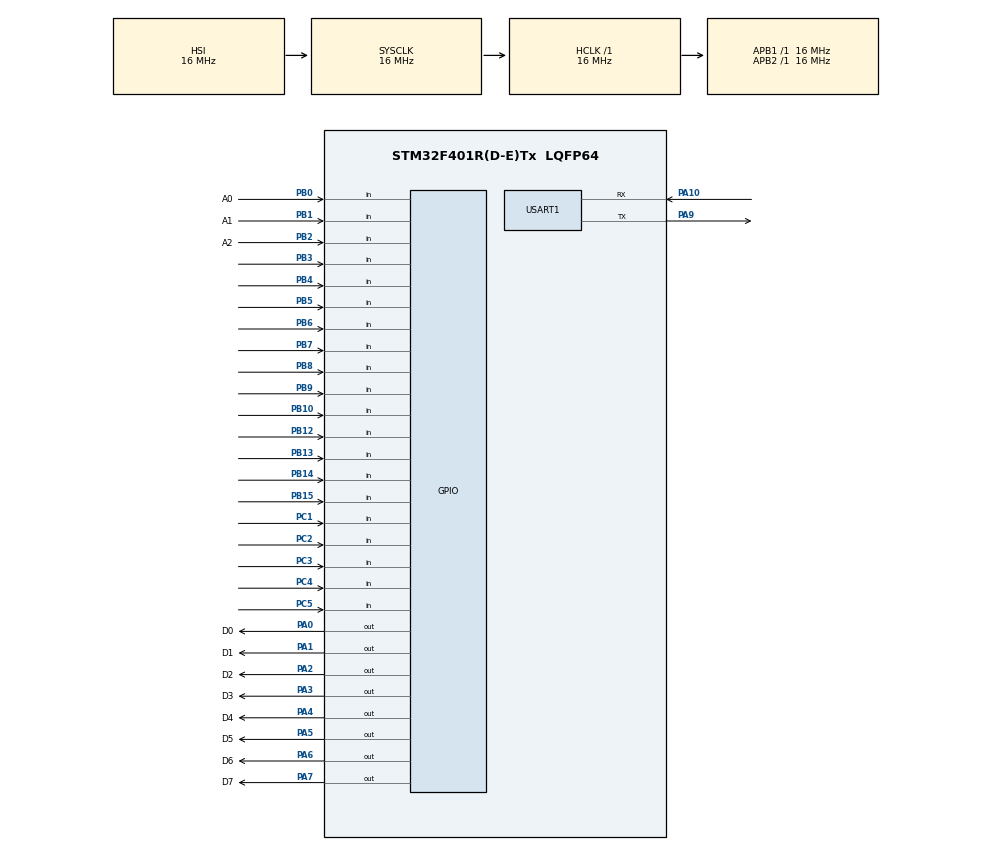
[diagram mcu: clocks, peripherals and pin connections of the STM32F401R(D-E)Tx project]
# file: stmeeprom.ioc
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Mcu.Family=STM32F4
Mcu.Name=STM32F401R(D-E)Tx
Mcu.Package=LQFP64
NVIC.PriorityGroup=NVIC_PRIORITYGROUP_4
PA0-WKUP.GPIO_Label=D0
PA0-WKUP.Signal=GPIO_Output
PA1.GPIO_Label=D1
PA1.Signal=GPIO_Output
PA10.Mode=Asynchronous
PA10.Signal=USART1_RX
PA2.GPIO_Label=D2
PA2.Signal=GPIO_Output
PA3.GPIO_Label=D3
PA3.Signal=GPIO_Output
PA4.GPIO_Label=D4
PA4.Signal=GPIO_Output
PA5.GPIO_Label=D5
PA5.Signal=GPIO_Output
PA6.GPIO_Label=D6
PA6.Signal=GPIO_Output
PA7.GPIO_Label=D7
PA7.Signal=GPIO_Output
PA9.Mode=Asynchronous
PA9.Signal=USART1_TX
PB0.GPIO_Label=A0
PB0.Signal=GPIO_Input
PB1.GPIO_Label=A1
PB1.Signal=GPIO_Input
PB10.Signal=GPIO_Input
PB12.Signal=GPIO_Input
PB13.Signal=GPIO_Input
PB14.Signal=GPIO_Input
PB15.Signal=GPIO_Input
PB2.GPIO_Label=A2
PB2.Signal=GPIO_Input
PB3.Signal=GPIO_Input
PB4.Signal=GPIO_Input
PB5.Signal=GPIO_Input
PB6.Signal=GPIO_Input
PB7.Signal=GPIO_Input
PB8.Signal=GPIO_Input
PB9.Signal=GPIO_Input
PC1.Signal=GPIO_Input
PC2.Signal=GPIO_Input
PC3.Signal=GPIO_Input
PC4.Signal=GPIO_Input
PC5.Signal=GPIO_Input
ProjectManager.HeapSize=0x200
ProjectManager.StackSize=0x400
ProjectManager.TargetToolchain=MDK-ARM V5
RCC.AHBFreq_Value=16000000
RCC.APB1Freq_Value=16000000
RCC.APB1TimFreq_Value=16000000
RCC.APB2Freq_Value=16000000
RCC.APB2TimFreq_Value=16000000
RCC.CortexFreq_Value=16000000
RCC.HCLKFreq_Value=16000000
RCC.HSE_VALUE=25000000
RCC.HSI_VALUE=16000000
RCC.LSE_VALUE=32768
RCC.SYSCLKFreq_VALUE=16000000
RCC.VCOOutputFreq_Value=192000000
USART1.VirtualMode=VM_ASYNC
VP_RTC_VS_RTC_Activate.Mode=RTC_Enabled
VP_RTC_VS_RTC_Calendar.Mode=RTC_Calendar
board=custom

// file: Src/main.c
/* USER CODE BEGIN Header */
/**
  ******************************************************************************
  * @file           : main.c
  * @brief          : Main program body
  ******************************************************************************
  * @attention
  *
  * <h2><center>&copy; Copyright (c) 2021 STMicroelectronics.
  * All rights reserved.</center></h2>
  *
  * This software component is licensed by ST under BSD 3-Clause license,
  * the "License"; You may not use this file except in compliance with the
  * License. You may obtain a copy of the License at:
  *                        opensource.org/licenses/BSD-3-Clause
  *
  ******************************************************************************
  */
/* USER CODE END Header */

#include "main.h"

/* USER CODE BEGIN Includes */
#include <stdio.h>
#include "software.h"
/* USER CODE END Includes */

/* USER CODE BEGIN PD */
#define DEBUG_INFO printf( "DEBUG:::: LINE %d FILE %s in function %s \n", __LINE__, __FILE__ , __func__)
#ifdef __GNUC__
#define PUTCHAR_PROTOTYPE int __io_putchar(int ch)
//#define GETCHAR_PROTOTYPE int __io_getchar(void)
#else
#define PUTCHAR_PROTOTYPE int fputc(int ch, FILE *f)
#define GETCHAR_PROTOTYPE int fgetc(FILE *f)
#endif

#define DR_INPUT 0xAAAA0000
#define DR_OUPUT 0x5555
/* USER CODE END PD */

RTC_HandleTypeDef hrtc;

UART_HandleTypeDef huart1;

/* USER CODE BEGIN PV */
uint8_t outputDataBuffer;
uint8_t inputDataBuffer;
uint16_t currentAddress;
/* USER CODE END PV */

void SystemClock_Config(void);
static void MX_GPIO_Init(void);
static void MX_RTC_Init(void);
static void MX_USART1_UART_Init(void);
/* USER CODE BEGIN PFP */
void writeDataBus(uint8_t data);
uint8_t readDataBus(void);
uint16_t readAddressBus(void);
void configureInterupts(void);
void issueReset(void);
uint8_t fetchData(uint16_t address);
/* USER CODE END PFP */

int main(void)
{

  /* MCU Configuration--------------------------------------------------------*/

  /* Reset of all peripherals, Initializes the Flash interface and the Systick. */
  HAL_Init();

  /* USER CODE BEGIN Init */
	/* notes to myself
GPIOx->MODER = 0xFFFFFFFF this is
accessing IO ports directly the direction register 2 bits per pin
00 input
01 ouput
10 altmode
11 analog
GPIOx-> OTYPER
output type register
0 = push pull
1 = open drain
GPIOx->PUPDR
pullup pull down register
2 bits per pin
00 no pulll
01 pull up
10 pull down
GPIOx -> IDR inupt register
GPIOx-> ODR output register

*/
  /* USER CODE END Init */

  /* Configure the system clock */
  SystemClock_Config();

  /* Initialize all configured peripherals */
  MX_GPIO_Init();
  MX_RTC_Init();
  MX_USART1_UART_Init();
  /* USER CODE BEGIN 2 */
	writeDataBus(INST_NOP);

  /* USER CODE END 2 */

  /* Infinite loop */
  while (1)
  {
		issueReset();
		writeDataBus(INST_NOP);
		printf("A: %xxxx",readAddressBus());
		inputDataBuffer = readDataBus();
		//note write address is valid from up cycle Q(which is down cycle on clk)
		//
		//HAL_Delay(1);
  }
}

void SystemClock_Config(void)
{
  RCC_OscInitTypeDef RCC_OscInitStruct = {0};
  RCC_ClkInitTypeDef RCC_ClkInitStruct = {0};
  RCC_PeriphCLKInitTypeDef PeriphClkInitStruct = {0};

  /** Configure the main internal regulator output voltage
  */
  __HAL_RCC_PWR_CLK_ENABLE();
  __HAL_PWR_VOLTAGESCALING_CONFIG(PWR_REGULATOR_VOLTAGE_SCALE2);
  /** Initializes the CPU, AHB and APB busses clocks
  */
  RCC_OscInitStruct.OscillatorType = RCC_OSCILLATORTYPE_HSI|RCC_OSCILLATORTYPE_LSI;
  RCC_OscInitStruct.HSIState = RCC_HSI_ON;
  RCC_OscInitStruct.HSICalibrationValue = RCC_HSICALIBRATION_DEFAULT;
  RCC_OscInitStruct.LSIState = RCC_LSI_ON;
  RCC_OscInitStruct.PLL.PLLState = RCC_PLL_NONE;
  if (HAL_RCC_OscConfig(&RCC_OscInitStruct) != HAL_OK)
  {
    Error_Handler();
  }
  /** Initializes the CPU, AHB and APB busses clocks
  */
  RCC_ClkInitStruct.ClockType = RCC_CLOCKTYPE_HCLK|RCC_CLOCKTYPE_SYSCLK
                              |RCC_CLOCKTYPE_PCLK1|RCC_CLOCKTYPE_PCLK2;
  RCC_ClkInitStruct.SYSCLKSource = RCC_SYSCLKSOURCE_HSI;
  RCC_ClkInitStruct.AHBCLKDivider = RCC_SYSCLK_DIV1;
  RCC_ClkInitStruct.APB1CLKDivider = RCC_HCLK_DIV1;
  RCC_ClkInitStruct.APB2CLKDivider = RCC_HCLK_DIV1;

  if (HAL_RCC_ClockConfig(&RCC_ClkInitStruct, FLASH_LATENCY_0) != HAL_OK)
  {
    Error_Handler();
  }
  PeriphClkInitStruct.PeriphClockSelection = RCC_PERIPHCLK_RTC;
  PeriphClkInitStruct.RTCClockSelection = RCC_RTCCLKSOURCE_LSI;
  if (HAL_RCCEx_PeriphCLKConfig(&PeriphClkInitStruct) != HAL_OK)
  {
    Error_Handler();
  }
}

static void MX_RTC_Init(void)
{

  RTC_TimeTypeDef sTime = {0};
  RTC_DateTypeDef sDate = {0};

  /** Initialize RTC Only
  */
  hrtc.Instance = RTC;
  hrtc.Init.HourFormat = RTC_HOURFORMAT_24;
  hrtc.Init.AsynchPrediv = 127;
  hrtc.Init.SynchPrediv = 255;
  hrtc.Init.OutPut = RTC_OUTPUT_DISABLE;
  hrtc.Init.OutPutPolarity = RTC_OUTPUT_POLARITY_HIGH;
  hrtc.Init.OutPutType = RTC_OUTPUT_TYPE_OPENDRAIN;
  if (HAL_RTC_Init(&hrtc) != HAL_OK)
  {
    Error_Handler();
  }

  /** Initialize RTC and set the Time and Date
  */
  sTime.Hours = 0x0;
  sTime.Minutes = 0x0;
  sTime.Seconds = 0x0;
  sTime.DayLightSaving = RTC_DAYLIGHTSAVING_NONE;
  sTime.StoreOperation = RTC_STOREOPERATION_RESET;
  if (HAL_RTC_SetTime(&hrtc, &sTime, RTC_FORMAT_BCD) != HAL_OK)
  {
    Error_Handler();
  }
  sDate.WeekDay = RTC_WEEKDAY_MONDAY;
  sDate.Month = RTC_MONTH_JANUARY;
  sDate.Date = 0x1;
  sDate.Year = 0x0;

  if (HAL_RTC_SetDate(&hrtc, &sDate, RTC_FORMAT_BCD) != HAL_OK)
  {
    Error_Handler();
  }

}

static void MX_USART1_UART_Init(void)
{

  huart1.Instance = USART1;
  huart1.Init.BaudRate = 115200;
  huart1.Init.WordLength = UART_WORDLENGTH_8B;
  huart1.Init.StopBits = UART_STOPBITS_1;
  huart1.Init.Parity = UART_PARITY_NONE;
  huart1.Init.Mode = UART_MODE_TX_RX;
  huart1.Init.HwFlowCtl = UART_HWCONTROL_NONE;
  huart1.Init.OverSampling = UART_OVERSAMPLING_16;
  if (HAL_UART_Init(&huart1) != HAL_OK)
  {
    Error_Handler();
  }

}

static void MX_GPIO_Init(void)
{
  GPIO_InitTypeDef GPIO_InitStruct = {0};

  /* GPIO Ports Clock Enable */
  __HAL_RCC_GPIOC_CLK_ENABLE();
  __HAL_RCC_GPIOA_CLK_ENABLE();
  __HAL_RCC_GPIOB_CLK_ENABLE();

  /*Configure GPIO pin Output Level */
  HAL_GPIO_WritePin(GPIOA, D0_Pin|D1_Pin|D2_Pin|D3_Pin
                          |D4_Pin|D5_Pin|D6_Pin|D7_Pin, GPIO_PIN_RESET);

  /*Configure GPIO pins : PC1 PC2 PC3 PC4
                           PC5 */
  GPIO_InitStruct.Pin = GPIO_PIN_1|GPIO_PIN_2|GPIO_PIN_3|GPIO_PIN_4
                          |GPIO_PIN_5;
  GPIO_InitStruct.Mode = GPIO_MODE_INPUT;
  GPIO_InitStruct.Pull = GPIO_NOPULL;
  HAL_GPIO_Init(GPIOC, &GPIO_InitStruct);

  /*Configure GPIO pins : D0_Pin D1_Pin D2_Pin D3_Pin
                           D4_Pin D5_Pin D6_Pin D7_Pin */
  GPIO_InitStruct.Pin = D0_Pin|D1_Pin|D2_Pin|D3_Pin
                          |D4_Pin|D5_Pin|D6_Pin|D7_Pin;
  GPIO_InitStruct.Mode = GPIO_MODE_OUTPUT_PP;
  GPIO_InitStruct.Pull = GPIO_NOPULL;
  GPIO_InitStruct.Speed = GPIO_SPEED_FREQ_LOW;
  HAL_GPIO_Init(GPIOA, &GPIO_InitStruct);

  /*Configure GPIO pins : A0_Pin A1_Pin A2_Pin PB10
                           PB12 PB13 PB14 PB15
                           PB3 PB4 PB5 PB6
                           PB7 PB8 PB9 */
  GPIO_InitStruct.Pin = A0_Pin|A1_Pin|A2_Pin|GPIO_PIN_10
                          |GPIO_PIN_12|GPIO_PIN_13|GPIO_PIN_14|GPIO_PIN_15
                          |GPIO_PIN_3|GPIO_PIN_4|GPIO_PIN_5|GPIO_PIN_6
                          |GPIO_PIN_7|GPIO_PIN_8|GPIO_PIN_9;
  GPIO_InitStruct.Mode = GPIO_MODE_INPUT;
  GPIO_InitStruct.Pull = GPIO_NOPULL;
  HAL_GPIO_Init(GPIOB, &GPIO_InitStruct);

}

/* USER CODE BEGIN 4 */
void configureInterupts(void){
/* EXTI interrupt init*/

}

uint16_t readAddressBus(void){
	uint16_t returnData;
	returnData = GPIOB->IDR;
	return returnData;
}

void writeDataBus(uint8_t data){
	GPIOA->MODER = DR_OUPUT;
	GPIOA->ODR = (uint32_t)data;

}

uint8_t readDataBus(void){
	uint8_t returnData;
	GPIOA->MODER = DR_INPUT;
	returnData = GPIOA->IDR;
	return returnData;
}

uint8_t fetchData(uint16_t address){
	if (address == RESET_VECTOR_ADDRESS_MSB){
			outputDataBuffer = (uint8_t)RESET_VECTOR >> 8;
	}
	if (address == RESET_VECTOR_ADDRESS_LSB){
			outputDataBuffer = (uint8_t)RESET_VECTOR & 0xFF;
	}
	if (address >= SOFTWARE_BEGIN){
		outputDataBuffer = romimage[address - SOFTWARE_BEGIN];
	}

}

void issueReset(void){
	HAL_GPIO_WritePin(GPIOC, RESET_Pin ,GPIO_PIN_RESET);
	HAL_Delay(1);
	HAL_GPIO_WritePin(GPIOC, RESET_Pin ,GPIO_PIN_SET);
}
/*Custom printf debuging*/
PUTCHAR_PROTOTYPE   /**RETARGET PRINTF TO UART1***/
{

   HAL_UART_Transmit(&huart1, (uint8_t *)&ch, 1,0xF);

  return ch;
}

GETCHAR_PROTOTYPE
{
	uint8_t ch;
	HAL_UART_Receive(&huart1, (uint8_t *)&ch, 1, 0xff);
	return ch;
}
/* USER CODE END 4 */

void Error_Handler(void)
{
}

/************************ (C) COPYRIGHT STMicroelectronics *****END OF FILE****/
